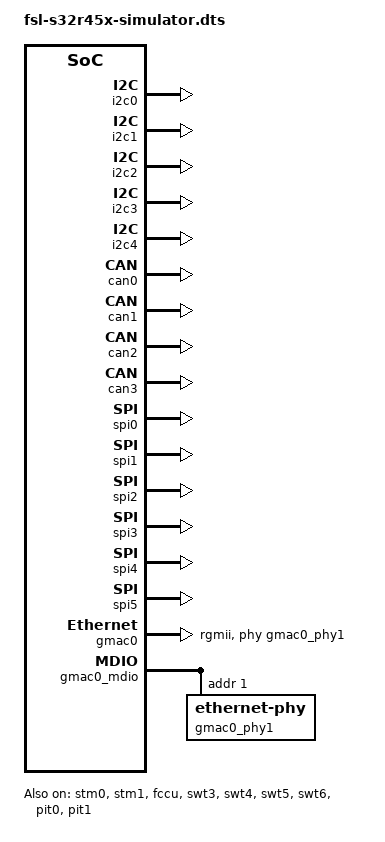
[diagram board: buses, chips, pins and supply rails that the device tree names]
// SPDX-License-Identifier: GPL-2.0
/*
 * Copyright 2017-2020 NXP
 *
 * This program is free software; you can redistribute it and/or modify
 * it under the terms of the GNU General Public License as published by
 * the Free Software Foundation; either version 2 of the License, or
 * (at your option) any later version.
 */

/dts-v1/;
#include "fsl-s32r45x.dtsi"
/ {
	chosen {
		linux,initrd-start = <0x84000000>;
		linux,initrd-end = <0x8A000000>;
		stdout-path = "serial0:115200n8";
	};

	memory_DDR0@80000000 {
		device_type = "memory";
		reg = <0 0x80000000 0 0x40000000>;
	};

	memory_DDR1@c0000000 {
		device_type = "memory";
		reg = <0 0xc0000000 0 0x40000000>;
	};
};

&fxosc {
	clock-frequency = <40000000>;
};

&generic_timer {
	clock-frequency = <1200000>;
};

&i2c0 {
	status = "okay";
};

&i2c1 {
	status = "okay";
};

&i2c2 {
	status = "okay";
};

&i2c3 {
	status = "okay";
};

&i2c4 {
	status = "okay";
};

&can0 {
	status = "okay";
};

&can1 {
	status = "okay";
};

&can2 {
	status = "okay";
};

&can3 {
	status = "okay";
};

&stm0 {
	status = "okay";
};

&stm1 {
	status = "okay";
};

&fccu {
	status = "okay";
};

&swt3 {
	status = "okay";
};

&swt4 {
	status = "okay";
};

&swt5 {
	status = "okay";
};

&swt6 {
	status = "okay";
};

&pit0 {
	status = "okay";
};

&pit1 {
	status = "okay";
};

&pinctrl0 {
	status = "okay";
	s32r45-simu {
		pinctrl_gpio0: gpiogrp0 {
			fsl,pins = <
				S32R45_PAD_PA_00_SIUL_GPIO0
				S32R45_PAD_PA_01_SIUL_GPIO1
				S32R45_PAD_PA_02_SIUL_GPIO2
				S32R45_PAD_PA_03_SIUL_GPIO3
				S32R45_PAD_PA_04_SIUL_GPIO4
				S32R45_PAD_PA_05_SIUL_GPIO5
				S32R45_PAD_PA_06_SIUL_GPIO6
				S32R45_PAD_PA_07_SIUL_GPIO7
				S32R45_PAD_PA_08_SIUL_GPIO8
				S32R45_PAD_PA_09_SIUL_GPIO9
				S32R45_PAD_PA_10_SIUL_GPIO10
				S32R45_PAD_PA_11_SIUL_GPIO11
				S32R45_PAD_PA_12_SIUL_GPIO12
				S32R45_PAD_PA_13_SIUL_GPIO13
				S32R45_PAD_PA_14_SIUL_GPIO14
				S32R45_PAD_PA_15_SIUL_GPIO15
				S32R45_PAD_PB_00_SIUL_GPIO16
				S32R45_PAD_PB_01_SIUL_GPIO17
				S32R45_PAD_PB_02_SIUL_GPIO18
				S32R45_PAD_PB_03_SIUL_GPIO19
				S32R45_PAD_PB_04_SIUL_GPIO20
				S32R45_PAD_PB_05_SIUL_GPIO21
				S32R45_PAD_PB_06_SIUL_GPIO22
				S32R45_PAD_PB_07_SIUL_GPIO23
				S32R45_PAD_PB_08_SIUL_GPIO24
				S32R45_PAD_PB_09_SIUL_GPIO25
				S32R45_PAD_PB_10_SIUL_GPIO26
				S32R45_PAD_PB_11_SIUL_GPIO27
				S32R45_PAD_PB_12_SIUL_GPIO28
				S32R45_PAD_PB_13_SIUL_GPIO29
				S32R45_PAD_PB_14_SIUL_GPIO30
				S32R45_PAD_PB_15_SIUL_GPIO31
				S32R45_PAD_PC_00_SIUL_GPIO32
				S32R45_PAD_PC_01_SIUL_GPIO33
				S32R45_PAD_PC_02_SIUL_GPIO34
				S32R45_PAD_PC_03_SIUL_GPIO35
				S32R45_PAD_PC_04_SIUL_GPIO36
				S32R45_PAD_PC_05_SIUL_GPIO37
				S32R45_PAD_PC_06_SIUL_GPIO38
				S32R45_PAD_PC_07_SIUL_GPIO39
				S32R45_PAD_PC_08_SIUL_GPIO40
				S32R45_PAD_PC_09_SIUL_GPIO41
				S32R45_PAD_PC_10_SIUL_GPIO42
				S32R45_PAD_PC_11_SIUL_GPIO43
				S32R45_PAD_PC_12_SIUL_GPIO44
				S32R45_PAD_PC_13_SIUL_GPIO45
				S32R45_PAD_PC_14_SIUL_GPIO46
				S32R45_PAD_PC_15_SIUL_GPIO47
				S32R45_PAD_PD_00_SIUL_GPIO48
				S32R45_PAD_PD_01_SIUL_GPIO49
				S32R45_PAD_PD_02_SIUL_GPIO50
				S32R45_PAD_PD_03_SIUL_GPIO51
				S32R45_PAD_PD_04_SIUL_GPIO52
				S32R45_PAD_PD_05_SIUL_GPIO53
				S32R45_PAD_PD_06_SIUL_GPIO54
				S32R45_PAD_PD_07_SIUL_GPIO55
				S32R45_PAD_PD_08_SIUL_GPIO56
				S32R45_PAD_PD_09_SIUL_GPIO57
				S32R45_PAD_PD_10_SIUL_GPIO58
				S32R45_PAD_PD_11_SIUL_GPIO59
				S32R45_PAD_PD_12_SIUL_GPIO60
				S32R45_PAD_PD_13_SIUL_GPIO61
				S32R45_PAD_PD_14_SIUL_GPIO62
				S32R45_PAD_PD_15_SIUL_GPIO63
				S32R45_PAD_PE_00_SIUL_GPIO64
				S32R45_PAD_PE_01_SIUL_GPIO65
				S32R45_PAD_PE_02_SIUL_GPIO66
				S32R45_PAD_PE_03_SIUL_GPIO67
				S32R45_PAD_PE_04_SIUL_GPIO68
				S32R45_PAD_PE_05_SIUL_GPIO69
				S32R45_PAD_PE_06_SIUL_GPIO70
				S32R45_PAD_PE_07_SIUL_GPIO71
				S32R45_PAD_PE_08_SIUL_GPIO72
				S32R45_PAD_PE_09_SIUL_GPIO73
				S32R45_PAD_PE_10_SIUL_GPIO74
				S32R45_PAD_PE_11_SIUL_GPIO75
				S32R45_PAD_PE_12_SIUL_GPIO76
				S32R45_PAD_PE_13_SIUL_GPIO77
				S32R45_PAD_PE_14_SIUL_GPIO78
				S32R45_PAD_PE_15_SIUL_GPIO79
				S32R45_PAD_PF_00_SIUL_GPIO80
				S32R45_PAD_PF_01_SIUL_GPIO81
				S32R45_PAD_PF_02_SIUL_GPIO82
				S32R45_PAD_PF_03_SIUL_GPIO83
				S32R45_PAD_PF_04_SIUL_GPIO84
				S32R45_PAD_PF_05_SIUL_GPIO85
				S32R45_PAD_PF_06_SIUL_GPIO86
				S32R45_PAD_PF_07_SIUL_GPIO87
				S32R45_PAD_PF_08_SIUL_GPIO88
				S32R45_PAD_PF_09_SIUL_GPIO89
				S32R45_PAD_PF_10_SIUL_GPIO90
				S32R45_PAD_PF_11_SIUL_GPIO91
				S32R45_PAD_PF_12_SIUL_GPIO92
				S32R45_PAD_PF_13_SIUL_GPIO93
				S32R45_PAD_PF_14_SIUL_GPIO94
				S32R45_PAD_PF_15_SIUL_GPIO95
				S32R45_PAD_PG_00_SIUL_GPIO96
				S32R45_PAD_PG_01_SIUL_GPIO97
				S32R45_PAD_PG_02_SIUL_GPIO98
				S32R45_PAD_PG_03_SIUL_GPIO99
				S32R45_PAD_PG_04_SIUL_GPIO100
				S32R45_PAD_PG_05_SIUL_GPIO101
				>;
		};
	};
};

&pinctrl1 {
	status = "okay";
	s32r45-simu {
		pinctrl_gpio1: gpiogrp1 {
			fsl,pins = <
				S32R45_PAD_PH_06_SIUL_GPIO102
				S32R45_PAD_PH_07_SIUL_GPIO103
				S32R45_PAD_PH_08_SIUL_GPIO104
				S32R45_PAD_PH_09_SIUL_GPIO105
				S32R45_PAD_PH_10_SIUL_GPIO106
				S32R45_PAD_PH_11_SIUL_GPIO107
				S32R45_PAD_PH_12_SIUL_GPIO108
				S32R45_PAD_PH_13_SIUL_GPIO109
				S32R45_PAD_PH_14_SIUL_GPIO110
				S32R45_PAD_PH_15_SIUL_GPIO111
				S32R45_PAD_PJ_00_SIUL_GPIO112
				S32R45_PAD_PJ_01_SIUL_GPIO113
				S32R45_PAD_PJ_02_SIUL_GPIO114
				S32R45_PAD_PJ_03_SIUL_GPIO115
				S32R45_PAD_PJ_04_SIUL_GPIO116
				S32R45_PAD_PJ_05_SIUL_GPIO117
				S32R45_PAD_PJ_06_SIUL_GPIO118
				S32R45_PAD_PJ_07_SIUL_GPIO119
				S32R45_PAD_PJ_08_SIUL_GPIO120
				S32R45_PAD_PJ_09_SIUL_GPIO121
				S32R45_PAD_PJ_10_SIUL_GPIO122
				S32R45_PAD_PJ_11_SIUL_GPIO123
				S32R45_PAD_PJ_12_SIUL_GPIO124
				S32R45_PAD_PJ_13_SIUL_GPIO125
				S32R45_PAD_PJ_14_SIUL_GPIO126
				S32R45_PAD_PJ_15_SIUL_GPIO127
				S32R45_PAD_PK_00_SIUL_GPIO128
				S32R45_PAD_PK_01_SIUL_GPIO129
				S32R45_PAD_PK_02_SIUL_GPIO130
				S32R45_PAD_PK_03_SIUL_GPIO131
				S32R45_PAD_PK_04_SIUL_GPIO132
				S32R45_PAD_PK_05_SIUL_GPIO133
				>;
		};

		pinctrl_gpioeirq0: gpioeirqgrp0 {
			fsl,pins = <
				S32R45_PAD_PA_00_SIUL_EIRQ0
				S32R45_PAD_PA_03_SIUL_EIRQ1
				S32R45_PAD_PA_04_SIUL_EIRQ2
				S32R45_PAD_PA_05_SIUL_EIRQ3
				S32R45_PAD_PA_06_SIUL_EIRQ4
				S32R45_PAD_PA_08_SIUL_EIRQ5
				S32R45_PAD_PA_09_SIUL_EIRQ6
				S32R45_PAD_PA_10_SIUL_EIRQ7
				S32R45_PAD_PA_11_SIUL_EIRQ8
				S32R45_PAD_PA_13_SIUL_EIRQ9
				S32R45_PAD_PB_00_SIUL_EIRQ10
				S32R45_PAD_PB_01_SIUL_EIRQ11
				S32R45_PAD_PB_02_SIUL_EIRQ12
				S32R45_PAD_PB_04_SIUL_EIRQ13
				S32R45_PAD_PB_06_SIUL_EIRQ14
				S32R45_PAD_PB_07_SIUL_EIRQ15
				S32R45_PAD_PB_09_SIUL_EIRQ16
				S32R45_PAD_PB_10_SIUL_EIRQ17
				S32R45_PAD_PB_11_SIUL_EIRQ18
				S32R45_PAD_PB_12_SIUL_EIRQ19
				S32R45_PAD_PB_13_SIUL_EIRQ20
				S32R45_PAD_PB_14_SIUL_EIRQ21
				S32R45_PAD_PB_15_SIUL_EIRQ22
				S32R45_PAD_PC_00_SIUL_EIRQ23
				S32R45_PAD_PC_01_SIUL_EIRQ24
				S32R45_PAD_PC_03_SIUL_EIRQ25
				S32R45_PAD_PC_04_SIUL_EIRQ26
				S32R45_PAD_PC_05_SIUL_EIRQ27
				S32R45_PAD_PC_06_SIUL_EIRQ28
				S32R45_PAD_PC_07_SIUL_EIRQ29
				S32R45_PAD_PC_08_SIUL_EIRQ30
				S32R45_PAD_PC_12_SIUL_EIRQ31
				>;
		};
	};
};

&edma0 {
	status = "okay";
};

&edma1 {
	status = "okay";
};

&spi0 {
	status = "okay";
};

&spi1 {
	status = "okay";
};

&spi2 {
	status = "okay";
};

&spi3 {
	status = "okay";
};

&spi4 {
	status = "okay";
};

&spi5 {
	status = "okay";
};

&gmac0 {
	phy-mode = "rgmii";
	phy-handle = <&gmac0_phy1>;
};

&gmac0_mdio {
	/* VDK S32R R9.0 ETH_PHY model has 0x01 addr by default  */
	gmac0_phy1: ethernet-phy@1 {
		reg = <1>;
	};
};
